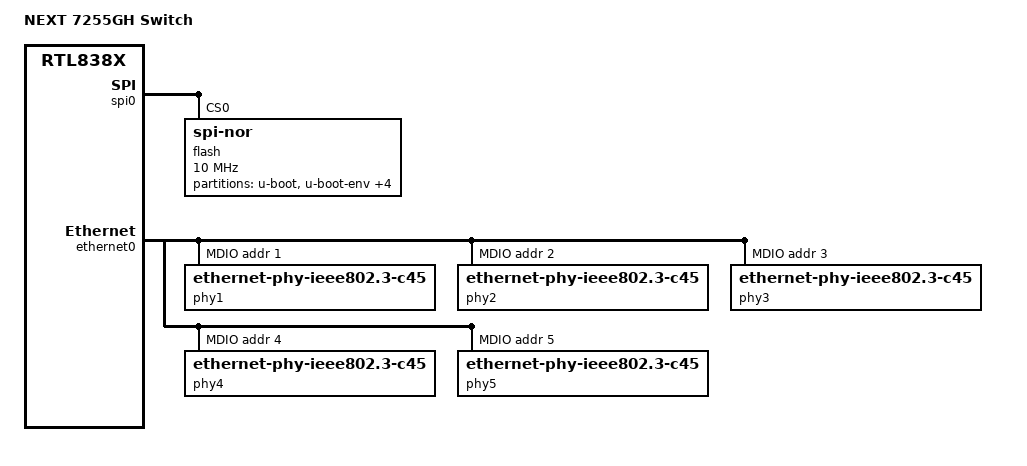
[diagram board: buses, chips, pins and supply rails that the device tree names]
// SPDX-License-Identifier: GPL-2.0-or-later
/dts-v1/;

#include "rtl930x.dtsi"

#include <dt-bindings/input/input.h>
#include <dt-bindings/gpio/gpio.h>

/ {
	compatible = "next,7255gh", "realtek,rtl838x-soc";
	model = "NEXT 7255GH Switch";

	led_set: led_set@0 {
		compatible = "realtek,rtl9300-leds";
		led_set0 = <0x0000 0xffff 0x0aa0 0x0a08>;
	};
};

&spi0 {
	status = "okay";
	flash@0 {
		compatible = "jedec,spi-nor";
		reg = <0>;
		spi-max-frequency = <10000000>;

		partitions {
			compatible = "fixed-partitions";
			#address-cells = <1>;
			#size-cells = <1>;

			partition@0 {
				label = "u-boot";
				reg = <0x0 0xe0000>;
				read-only;
			};
			partition@e0000 {
				label = "u-boot-env";
				reg = <0xe0000 0x10000>;
			};
			partition@f0000 {
				label = "u-boot-env2";
				reg = <0xf0000 0x10000>;
				read-only;
			};
			partition@100000 {
				label = "jffs";
				reg = <0x100000 0x100000>;
			};
			partition@200000 {
				label = "jffs2";
				reg = <0x200000 0x100000>;
			};
			partition@300000 {
				label = "firmware";
				reg = <0x300000 0xd00000>;
				compatible = "openwrt,uimage", "denx,uimage";
			};
		};
	};
};

&ethernet0 {
	mdio: mdio-bus {
		compatible = "realtek,rtl838x-mdio";
		regmap = <&ethernet0>;
		#address-cells = <1>;
		#size-cells = <0>;

		phy1: ethernet-phy@1 {
			reg = <1>;
			compatible = "ethernet-phy-ieee802.3-c45";
			rtl9300,smi-address = <0 1>;
			sds = <2>;
		};
		phy2: ethernet-phy@2 {
			reg = <2>;
			compatible = "ethernet-phy-ieee802.3-c45";
			rtl9300,smi-address = <0 2>;
			sds = <3>;
		};
		phy3: ethernet-phy@3 {
			reg = <3>;
			compatible = "ethernet-phy-ieee802.3-c45";
			rtl9300,smi-address = <0 3>;
			sds = <4>;
		};
		phy4: ethernet-phy@4 {
			reg = <4>;
			compatible = "ethernet-phy-ieee802.3-c45";
			rtl9300,smi-address = <0 4>;
			sds = <5>;
		};
		phy5: ethernet-phy@5 {
			reg = <5>;
			compatible = "ethernet-phy-ieee802.3-c45";
			rtl9300,smi-address = <0 5>;
			sds = <6>;
		};
	};
};

&switch0 {
	ports {
		#address-cells = <1>;
		#size-cells = <0>;

		port@0 {
			reg = <0>;
			label = "lan1";
			phy-handle = <&phy1>;
			phy-mode = "hsgmii";
			led-set = <0>;
		};
		port@8 {
			reg = <8>;
			label = "lan2";
			phy-handle = <&phy2>;
			phy-mode = "hsgmii";
			led-set = <0>;
		};
		port@16 {
			reg = <16>;
			label = "lan3";
			phy-handle = <&phy3>;
			phy-mode = "hsgmii";
			led-set = <0>;
		};
		port@20 {
			reg = <20>;
			label = "lan4";
			phy-handle = <&phy4>;
			phy-mode = "hsgmii";
			led-set = <0>;
		};
		port@24 {
			reg = <24>;
			label = "lan5";
			phy-handle = <&phy5>;
			phy-mode = "hsgmii";
			led-set = <0>;
		};

		port@28 {
			ethernet = <&ethernet0>;
			reg = <28>;
			phy-mode = "internal";
			fixed-link {
				speed = <1000>;
				full-duplex;
			};
		};
	};
};
